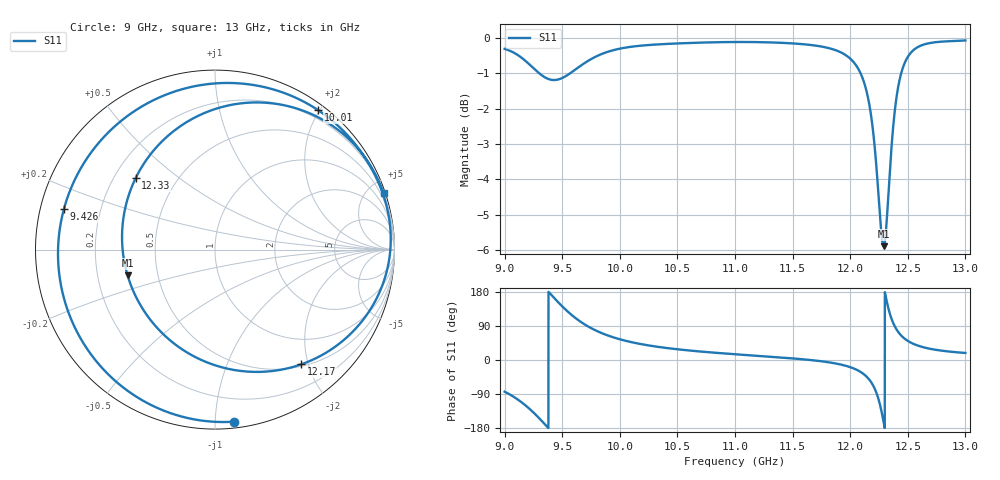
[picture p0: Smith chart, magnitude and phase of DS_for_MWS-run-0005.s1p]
! TOUCHSTONE file generated by CST DESIGN STUDIO
! Date and time: Tue Feb  4 12:51:33 2025
! Project name: C:\Work\MatlabApps\UnitCellOptimizationMatlab\CST\unitcell.cst
! Tree item: Tasks\Sweep1\SPara1\S-Parameters
! Header version: 2024
! Port assignment regex: !\s*Touchstone port\s*([0-9]+)\s*=\s*(CST MWS port|CST DES external port|CST DES block port)\s*(.+)\s* \(\"(.*)\"\)(\s*mode\s*([0-9]+))?.*
! Touchstone port assignment:
! Touchstone port 1 = CST DES external port 1 ("")
# GHz S MA R 50
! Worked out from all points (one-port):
!   4001 points, 9 GHz to 13 GHz, reference 50 ohm
!   lowest |S11| = -5.9 dB at 12.29 GHz (marker M1), VSWR 3.06, Z = 16.6 - j6.44 ohm
!   |S11| at or under -10 dB: nowhere
!   S11 on the Smith chart (normalised r, x): 9 GHz: 0.04, -1.12; 9.426 GHz: 0.07, +0.13; 10.01 GHz: 0.08, +1.98; 12.17 GHz: 0.53, -1.88; 12.33 GHz: 0.29, +0.36; 13 GHz: 0.17, +6.12
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9  0.9645 -83.6
9.112  0.9459 -103.8
9.206  0.92 -126.1
9.325  0.8846 -161.6
9.426  0.8716 165.0
9.5  0.8773 141.6
9.591  0.8962 116.5
9.69  0.92 94.8
9.838  0.9479 71.6
10  0.9652 54.7
10.013  0.9661 53.6
10.5  0.9817 28.3
11  0.9863 15.2
11.5  0.9818 4.2
11.802  0.968 -5.5
12  0.9345 -18.9
12.099  0.884 -33.2
12.169  0.7997 -53.1
12.237  0.6275 -94.8
12.263  0.5478 -123.6
12.29  0.5078 -163.5
12.33  0.595 138.0
12.36  0.7057 107.7
12.393  0.8034 85.4
12.443  0.8914 64.5
12.5  0.9397 50.4
12.667  0.9811 31.3
13  0.9913 18.6
